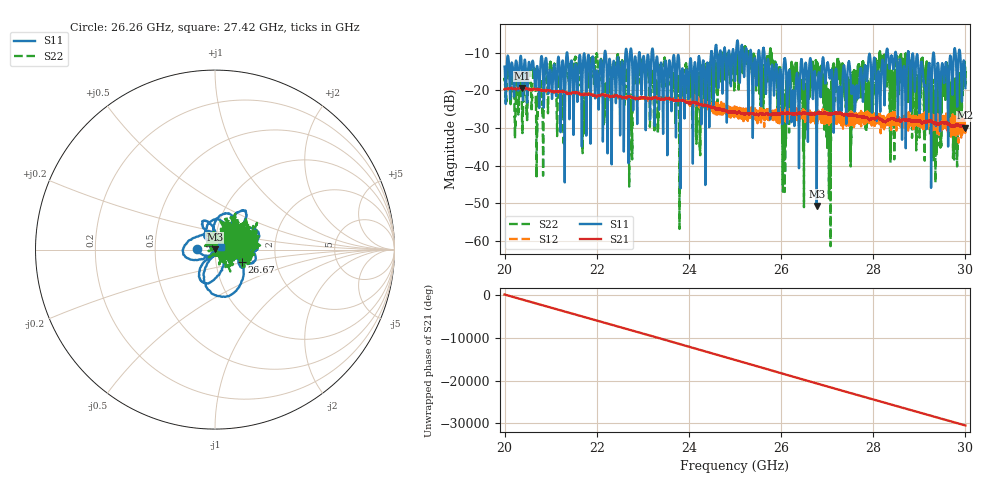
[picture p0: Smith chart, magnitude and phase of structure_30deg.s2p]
#  HZ  S  RI  R  50.00
! Rohde & Schwarz ZVA40 4Ports - Version 3.90 - 1145.1110k42 SN: 100403
! Date: 2023-09-06 06:58:02
! Measurements: S11 S21 S12 S22
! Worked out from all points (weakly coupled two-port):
!   8001 points, 20 GHz to 30 GHz, reference 50 ohm
!   highest |S21| = -19.31 dB at 20.39 GHz (marker M1); lowest = -29.9 dB at 30 GHz (marker M2)
!   lowest |S11| = -50.8 dB at 26.77 GHz (marker M3), VSWR 1.01, Z = 49.9 + j0.27 ohm
!   |S11| at or under -10 dB: start of sweep to 21.35 GHz; 23.22 GHz to 24.48 GHz (1.258 GHz wide, 5.27 % of centre); 25.64 GHz to 28.28 GHz (2.645 GHz wide, 9.81 % of centre)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
!   |S22| runs from -61.4 to -8.3 dB; largest |S21 - S12| = 0.048
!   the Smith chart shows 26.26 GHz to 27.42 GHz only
!   S11 on the Smith chart (normalised r, x): 26.26 GHz: 0.82, +0.00; 26.67 GHz: 1.33, -0.19; 27.42 GHz: 1.07, +0.03
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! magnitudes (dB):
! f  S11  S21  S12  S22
! 20 GHz  -13.7  -19.7  -19.7  -16.9
! 20.39 GHz  -19.6  -19.3  -19.5  -30.1
! 21.67 GHz  -21.1  -21.0  -21.0  -17.3
! 22.48 GHz  -13.5  -21.7  -21.6  -12.2
! 22.73 GHz  -8.9  -21.8  -21.5  -23.4
! 23.33 GHz  -15.8  -22.1  -22.0  -26.8
! 25 GHz  -17.3  -25.7  -25.7  -13.5
! 25.78 GHz  -16.0  -26.3  -27.2  -10.0
! 26.06 GHz  -13.4  -26.1  -26.5  -27.5
! 26.26 GHz  -20.2  -26.2  -27.5  -14.5
! 26.51 GHz  -15.7  -25.9  -26.6  -25.3
! 26.67 GHz  -15.7  -26.3  -26.6  -13.4
! 26.67 GHz  -15.9  -26.3  -27.3  -13.0
! 26.77 GHz  -50.8  -26.1  -26.0  -12.6
! 27.03 GHz  -14.0  -26.3  -27.2  -19.8
! 27.23 GHz  -24.3  -26.2  -27.9  -14.0
! 27.42 GHz  -28.7  -26.5  -25.3  -17.2
! 28.33 GHz  -12.1  -27.8  -28.7  -14.5
! 28.67 GHz  -13.5  -27.8  -27.4  -13.2
! 29.78 GHz  -9.3  -29.1  -29.9  -22.5
! 30 GHz  -16.8  -29.9  -29.3  -16.5
! 30 GHz  -19.4  -29.9  -30.9  -18.5
